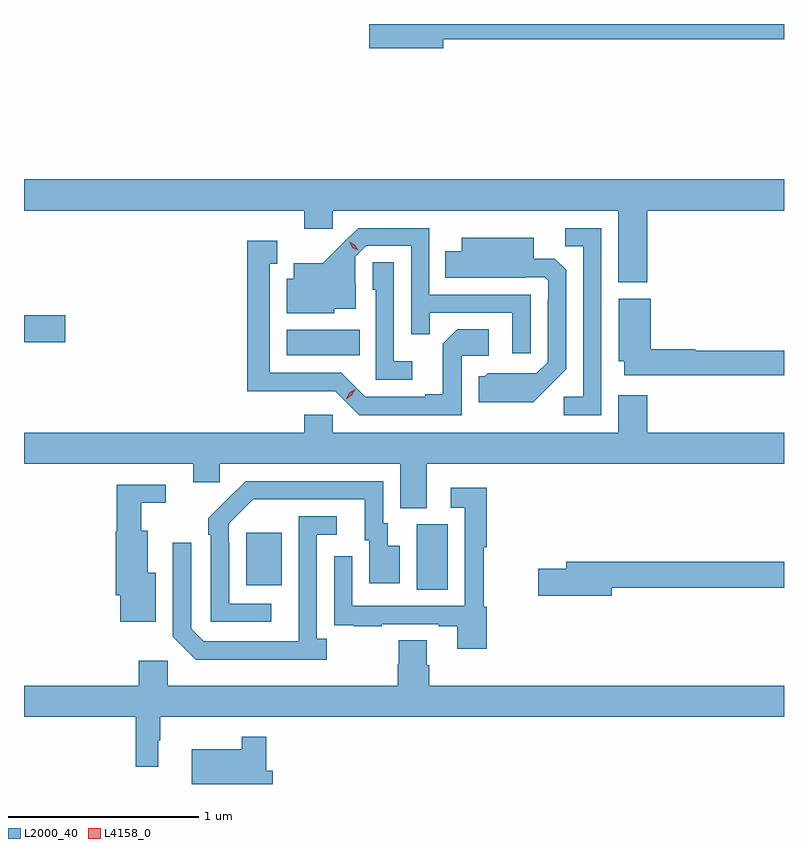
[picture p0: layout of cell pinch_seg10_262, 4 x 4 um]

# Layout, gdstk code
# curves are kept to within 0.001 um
import gdstk
lib = gdstk.Library(unit=1e-6, precision=1e-09)
def R(c, l, rs):  # rectangles x0, y0, x1, y1
    for r in rs: c.add(gdstk.rectangle(r[:2], r[2:], *l))
def P(c, l, *ps):  # polygons
    for p in ps: c.add(gdstk.Polygon(p, *l))
L2000_40 = (2000, 40)
L4158_0 = (4158, 0)

pinch_seg10_262 = lib.new_cell('pinch_seg10_262')
R(pinch_seg10_262, L2000_40, [(515.9,1311.64,516.064,1311.984), (515.003,1311.665,515.191,1311.94), (515.216,1312.874,515.6,1313.008), (513.834,1312.942,514.051,1313.084)])
P(pinch_seg10_262, L2000_40, [(516.04,1314.538),(517.834,1314.538),(517.834,1314.618),(515.652,1314.618),(515.652,1314.491),(516.04,1314.491)],
  [(517.115,1313.636),(517.834,1313.636),(517.834,1313.8),(513.834,1313.8),(513.834,1313.636),(515.309,1313.636),(515.309,1313.541),(515.46,1313.541),(515.46,1313.636),(516.962,1313.636),(516.962,1313.258),(517.115,1313.258)],
  [(516.873,1313.544),(516.682,1313.544),(516.682,1313.449),(516.777,1313.449),(516.777,1312.656),(516.675,1312.656),(516.675,1312.56),(516.873,1312.56)],
  [(516.501,1313.193),(515.967,1313.193),(515.967,1313.544),(515.594,1313.544),(515.407,1313.359),(515.255,1313.359),(515.255,1313.278),(515.216,1313.278),(515.216,1313.096),(515.466,1313.096),(515.466,1313.12),(515.581,1313.12),(515.581,1313.252),(515.577,1313.252),(515.577,1313.394),(515.634,1313.451),(515.871,1313.451),(515.871,1312.984),(515.969,1312.984),(515.969,1313.097),(516.405,1313.097),(516.405,1312.884),(516.501,1312.884)],
  [(516.595,1312.709),(516.687,1312.802),(516.687,1313.324),(516.628,1313.383),(516.517,1313.383),(516.517,1313.494),(516.137,1313.494),(516.137,1313.422),(516.052,1313.422),(516.052,1313.282),(516.476,1313.282),(516.476,1313.286),(516.576,1313.286),(516.594,1313.268),(516.594,1313.168),(516.591,1313.168),(516.591,1312.839),(516.531,1312.779),(516.274,1312.78),(516.258,1312.764),(516.227,1312.764),(516.227,1312.628),(516.515,1312.628)],
  [(516.138,1312.872),(516.28,1312.872),(516.28,1313.012),(516.115,1313.012),(516.039,1312.936),(516.039,1312.669),(515.945,1312.669),(515.945,1312.656),(515.631,1312.656),(515.505,1312.782),(515.128,1312.782),(515.128,1313.355),(515.167,1313.355),(515.167,1313.476),(515.01,1313.476),(515.01,1312.685),(515.472,1312.686),(515.598,1312.56),(516.138,1312.56)],
  [(515.878,1312.843),(515.781,1312.843),(515.781,1313.363),(515.67,1313.363),(515.67,1313.22),(515.685,1313.22),(515.685,1312.746),(515.878,1312.746)],
  [(517.268,1312.77),(517.834,1312.77),(517.834,1312.898),(517.368,1312.898),(517.368,1312.906),(517.132,1312.906),(517.132,1313.173),(516.965,1313.173),(516.965,1312.842),(516.992,1312.842),(516.992,1312.769),(517.268,1312.769)],
  [(515.953,1312.304),(517.834,1312.304),(517.834,1312.468),(517.115,1312.468),(517.115,1312.663),(516.962,1312.663),(516.962,1312.468),(515.46,1312.468),(515.46,1312.561),(515.309,1312.561),(515.309,1312.468),(513.834,1312.468),(513.834,1312.304),(514.724,1312.304),(514.724,1312.206),(514.863,1312.206),(514.863,1312.304),(515.813,1312.304),(515.813,1312.069),(515.953,1312.069)],
  [(515.134,1311.567),(514.914,1311.567),(514.914,1311.887),(514.911,1311.887),(514.911,1311.987),(515.04,1312.116),(515.627,1312.116),(515.627,1311.9),(515.651,1311.9),(515.651,1311.675),(515.812,1311.675),(515.812,1311.871),(515.749,1311.871),(515.749,1311.99),(515.724,1311.99),(515.724,1312.212),(515,1312.212),(514.803,1312.017),(514.803,1311.929),(514.818,1311.929),(514.818,1311.471),(515.134,1311.471)],
  [(514.528,1311.73),(514.486,1311.73),(514.486,1311.952),(514.45,1311.952),(514.45,1312.097),(514.579,1312.097),(514.579,1312.194),(514.321,1312.194),(514.321,1311.948),(514.316,1311.948),(514.316,1311.612),(514.34,1311.612),(514.34,1311.473),(514.528,1311.473)],
  [(516.269,1311.552),(516.254,1311.552),(516.254,1311.864),(516.269,1311.864),(516.269,1312.177),(516.081,1312.177),(516.081,1312.071),(516.153,1312.071),(516.153,1311.555),(515.562,1311.555),(515.562,1311.817),(515.466,1311.817),(515.466,1311.562),(515.467,1311.562),(515.467,1311.453),(515.569,1311.453),(515.569,1311.447),(515.717,1311.447),(515.717,1311.459),(516.017,1311.459),(516.017,1311.447),(516.113,1311.447),(516.113,1311.33),(516.269,1311.33)],
  [(515.428,1311.382),(515.376,1311.382),(515.376,1311.93),(515.479,1311.93),(515.479,1312.026),(515.28,1312.026),(515.279,1311.369),(514.779,1311.369),(514.713,1311.435),(514.713,1311.889),(514.617,1311.889),(514.617,1311.393),(514.738,1311.272),(515.428,1311.272)],
  [(516.928,1311.652),(517.834,1311.652),(517.834,1311.788),(516.689,1311.788),(516.689,1311.752),(516.54,1311.752),(516.54,1311.61),(516.928,1311.61)],
  [(514.54,1310.849),(514.552,1310.849),(514.552,1310.972),(517.834,1310.972),(517.834,1311.136),(515.966,1311.136),(515.966,1311.242),(515.953,1311.242),(515.953,1311.374),(515.806,1311.374),(515.806,1311.249),(515.801,1311.249),(515.801,1311.136),(514.59,1311.136),(514.59,1311.268),(514.439,1311.268),(514.439,1311.136),(513.834,1311.136),(513.834,1310.972),(514.423,1310.972),(514.423,1310.709),(514.54,1310.709)],
  [(515.143,1310.689),(515.108,1310.689),(515.108,1310.866),(514.98,1310.866),(514.98,1310.8),(514.718,1310.8),(514.718,1310.618),(515.143,1310.618)])
P(pinch_seg10_262, L4158_0, [(515.592,1313.426),(515.562,1313.441),(515.545,1313.471),(515.545,1313.471),(515.545,1313.471),(515.576,1313.456),(515.592,1313.426),(515.592,1313.426)],
  [(515.529,1312.644),(515.529,1312.644),(515.546,1312.677),(515.577,1312.696),(515.577,1312.696),(515.577,1312.696),(515.56,1312.663),(515.529,1312.644)])

lib.write_gds('pinch_seg10_262.gds')
